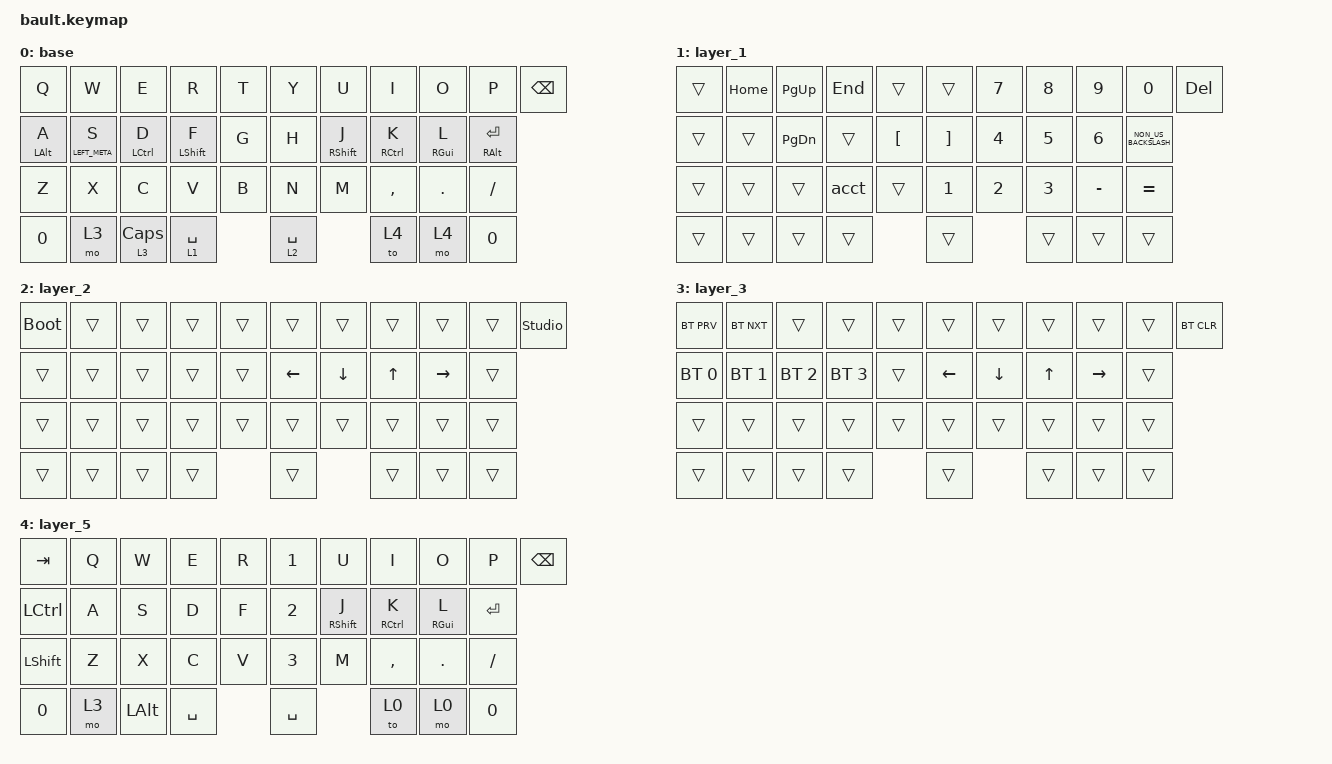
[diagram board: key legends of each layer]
#include <behaviors.dtsi>
#include <dt-bindings/zmk/bt.h>
#include <dt-bindings/zmk/keys.h>

/ {
    behaviors {
        hm: homerow_mods {
            compatible = "zmk,behavior-hold-tap";
            display-name = "Homerow Mods";
            bindings = <&kp>, <&kp>;

            #binding-cells = <2>;
            tapping-term-ms = <200>;
            quick-tap-ms = <180>;
            require-prior-idle-ms = <0>;
            flavor = "tap-preferred";
        };
    };

    combos {
        compatible = "zmk,combos";

        esc {
            bindings = <&kp ESC>;
            key-positions = <1 14>;
        };

        tilde {
            bindings = <&kp GRAVE>;
            key-positions = <1 2>;
        };

        semi {
            bindings = <&kp SEMICOLON>;
            key-positions = <17 18>;
        };

        apost {
            bindings = <&kp APOS>;
            key-positions = <19 18>;
        };

        tab {
            bindings = <&kp TAB>;
            key-positions = <0 1>;
        };
    };

    macros {
        acct: acct {
            compatible = "zmk,behavior-macro";
            #binding-cells = <0>;
            bindings = <&none &kp N1 &kp N9 &kp N5 &kp N4 &kp N2 &kp N5 &kp N0>;
            label = "ACCT";
        };
    };

    keymap {
        compatible = "zmk,keymap";

        base {
            bindings = <
&kp Q           &kp W            &kp E        &kp R             &kp T  &kp Y        &kp U              &kp I                &kp O            &kp P                &kp BACKSPACE
&hm LEFT_ALT A  &hm LEFT_META S  &hm LCTRL D  &hm LEFT_SHIFT F  &kp G  &kp H        &hm RIGHT_SHIFT J  &hm RIGHT_CONTROL K  &hm RIGHT_GUI L  &hm RIGHT_ALT ENTER
&kp Z           &kp X            &kp C        &kp V             &kp B  &kp N        &kp M              &kp COMMA            &kp PERIOD       &kp SLASH
&kp N0          &mo 3            &lt 3 CAPS   &lt 1 SPACE              &lt 2 SPACE                     &to 4                &mo 4            &kp N0
            >;
        };

        layer_1 {
            bindings = <
&trans  &kp HOME  &kp PG_UP      &kp END  &trans            &trans             &kp N7        &kp N8        &kp N9        &kp N0                &kp DEL
&trans  &trans    &kp PAGE_DOWN  &trans   &kp LEFT_BRACKET  &kp RIGHT_BRACKET  &kp NUMBER_4  &kp N5        &kp NUMBER_6  &kp NON_US_BACKSLASH
&trans  &trans    &trans         &acct    &trans            &kp NUMBER_1       &kp NUMBER_2  &kp NUMBER_3  &kp MINUS     &kp EQUAL
&trans  &trans    &trans         &trans                     &trans                           &trans        &trans        &trans
            >;
        };

        layer_2 {
            bindings = <
&bootloader  &trans  &trans  &trans  &trans  &trans          &trans          &trans        &trans           &trans  &studio_unlock
&trans       &trans  &trans  &trans  &trans  &kp LEFT_ARROW  &kp DOWN_ARROW  &kp UP_ARROW  &kp RIGHT_ARROW  &trans
&trans       &trans  &trans  &trans  &trans  &trans          &trans          &trans        &trans           &trans
&trans       &trans  &trans  &trans          &trans                          &trans        &trans           &trans
            >;
        };

        layer_3 {
            bindings = <
&bt BT_PRV    &bt BT_NXT    &trans        &trans        &trans  &trans          &trans          &trans        &trans           &trans  &bt BT_CLR
&bt BT_SEL 0  &bt BT_SEL 1  &bt BT_SEL 2  &bt BT_SEL 3  &trans  &kp LEFT_ARROW  &kp DOWN_ARROW  &kp UP_ARROW  &kp RIGHT_ARROW  &trans
&trans        &trans        &trans        &trans        &trans  &trans          &trans          &trans        &trans           &trans
&trans        &trans        &trans        &trans                &trans                          &trans        &trans           &trans
            >;
        };

        layer_5 {
            bindings = <
&kp TAB           &kp Q  &kp W         &kp E      &kp R  &kp NUMBER_1  &kp U              &kp I                &kp O            &kp P      &kp BACKSPACE
&kp LEFT_CONTROL  &kp A  &kp S         &kp D      &kp F  &kp NUMBER_2  &hm RIGHT_SHIFT J  &hm RIGHT_CONTROL K  &hm RIGHT_GUI L  &kp ENTER
&kp LEFT_SHIFT    &kp Z  &kp X         &kp C      &kp V  &kp NUMBER_3  &kp M              &kp COMMA            &kp PERIOD       &kp SLASH
&kp N0            &mo 3  &kp LEFT_ALT  &kp SPACE         &kp SPACE                        &to 0                &mo 0            &kp N0
            >;
        };
    };
};
